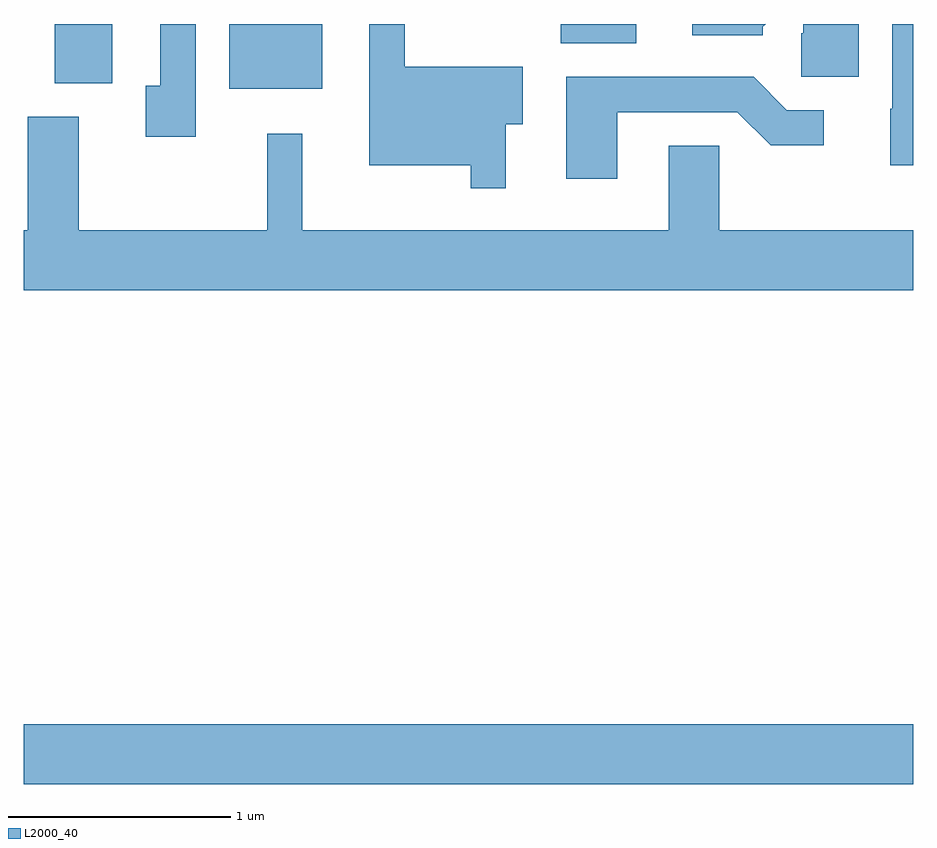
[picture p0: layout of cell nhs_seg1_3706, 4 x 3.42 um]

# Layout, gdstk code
import gdstk
lib = gdstk.Library(unit=1e-6, precision=1e-09)
def R(c, l, rs):  # rectangles x0, y0, x1, y1
    for r in rs: c.add(gdstk.rectangle(r[:2], r[2:], *l))
def P(c, l, *ps):  # polygons
    for p in ps: c.add(gdstk.Polygon(p, *l))
L2000_40 = (2000, 40)

nhs_seg1_3706 = lib.new_cell('nhs_seg1_3706')
R(nhs_seg1_3706, L2000_40, [(297.611,846.296,301.611,846.564), (298.536,849.421,298.954,849.712), (297.751,849.446,298.009,849.712), (300.026,849.626,300.364,849.712)])
P(nhs_seg1_3706, L2000_40, [(299.779,849.261),(299.854,849.261),(299.854,849.519),(299.324,849.519),(299.324,849.712),(299.166,849.712),(299.166,849.076),(299.621,849.076),(299.621,848.973),(299.779,848.973)],
  [(300.934,849.699),(300.947,849.712),(300.616,849.712),(300.616,849.661),(300.934,849.661)],
  [(298.384,849.712),(298.226,849.712),(298.226,849.434),(298.161,849.434),(298.161,849.206),(298.384,849.206)],
  [(301.611,849.712),(301.516,849.712),(301.516,849.33),(301.506,849.33),(301.506,849.076),(301.611,849.076)],
  [(301.364,849.712),(301.116,849.712),(301.116,849.67),(301.106,849.67),(301.106,849.476),(301.364,849.476)],
  [(300.279,849.316),(300.819,849.316),(300.969,849.166),(301.208,849.166),(301.208,849.324),(301.042,849.324),(300.892,849.474),(300.051,849.474),(300.051,849.016),(300.279,849.016)],
  [(301.611,848.784),(300.739,848.784),(300.739,849.164),(300.511,849.164),(300.511,848.784),(298.864,848.784),(298.864,849.218),(298.706,849.218),(298.706,848.784),(297.859,848.784),(297.859,849.294),(297.631,849.294),(297.631,848.784),(297.611,848.784),(297.611,848.516),(301.611,848.516)])

lib.write_gds('nhs_seg1_3706.gds')
